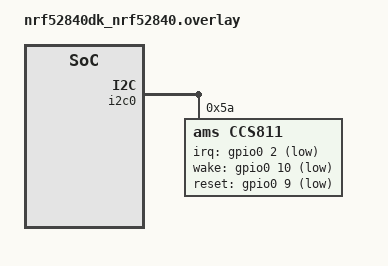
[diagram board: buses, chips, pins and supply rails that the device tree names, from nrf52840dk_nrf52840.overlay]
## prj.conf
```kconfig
CONFIG_GPIO=y
CONFIG_I2C=y
CONFIG_SENSOR=y
```

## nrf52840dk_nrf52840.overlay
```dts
// To get started, press Ctrl+Space to bring up the completion menu and view the available nodes.

// You can also use the buttons in the sidebar to perform actions on nodes.
// Actions currently available include:

// * Enabling / disabling the node
// * Adding the bus to a bus
// * Removing the node
// * Connecting ADC channels

// For more help, browse the DeviceTree documentation at https://docs.zephyrproject.org/latest/guides/dts/index.html
// You can also visit the nRF DeviceTree extension documentation at https://nrfconnect.github.io/vscode-nrf-connect/devicetree/nrfdevicetree.html
&i2c0{
    status = "okay";
    ccs811: ccs811@5a{
    compatible ="ams,ccs811"; 
    reg = <0x5a>;
    label ="CCS811"; 
    irq-gpios = <&gpio0 2 GPIO_ACTIVE_LOW>; 
    wake-gpios = <&gpio0 10 GPIO_ACTIVE_LOW>; 
    reset-gpios = <&gpio0 9 GPIO_ACTIVE_LOW>;
    };
};  
    // Tie WAKE to GND
```

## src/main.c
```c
#include <zephyr/kernel.h>
#include <zephyr/sys/printk.h>
#include <zephyr/device.h>
#include <zephyr/drivers/sensor.h>
#include <zephyr/drivers/sensor/ccs811.h>

int main(void)
{
const struct device *ccs811= DEVICE_DT_GET_ANY(ams_ccs811); 
struct sensor_value co2, tvoc; 
int rc = 0;

printk("TRY INIT");

if (!device_is_ready(ccs811))
{

printk("NOT GOOD TO START");

return 1;

}

printk("GOOD TO START");

while (true)

{

rc  = sensor_sample_fetch(ccs811);

sensor_channel_get(ccs811, SENSOR_CHAN_CO2, &co2);
sensor_channel_get(ccs811, SENSOR_CHAN_VOC, &tvoc);
printk("\nCCS811: %u ppm eCO2; %u ppb eTVOC\n", co2.val1, tvoc.val1);

k_sleep(K_SECONDS(2));
}
return 0;
}
```
